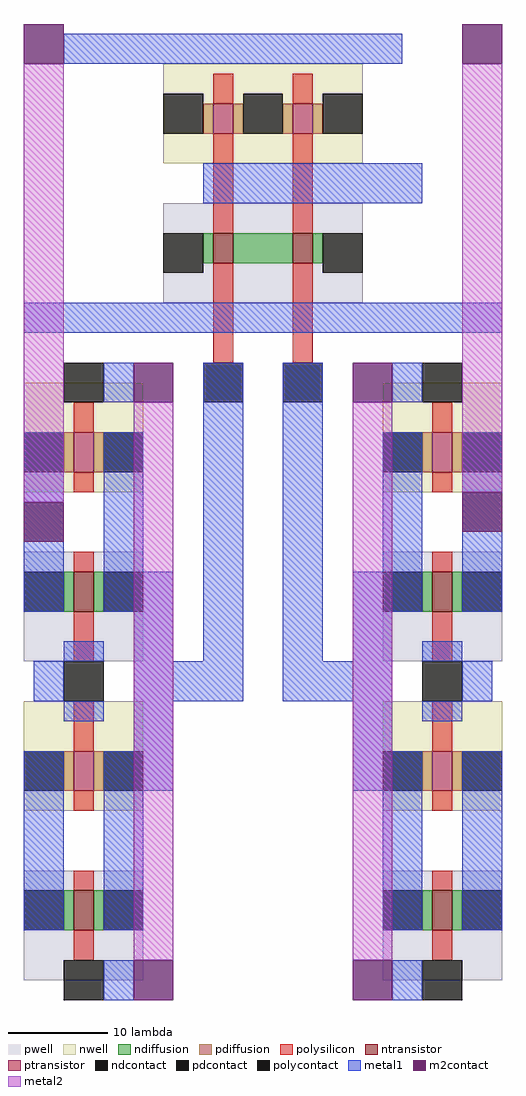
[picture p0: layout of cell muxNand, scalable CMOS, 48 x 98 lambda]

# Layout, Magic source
magic
tech scmos
<< metal1 >>
rect -7 27 27 30
rect 7 13 29 17
rect -11 0 37 3
rect -11 -17 -7 -10
rect 7 -33 11 -3
rect 0 -37 11 -33
rect 15 -33 19 -3
rect 33 -16 37 -10
rect 15 -37 26 -33
<< metal2 >>
rect -11 -17 -7 27
rect 33 -16 37 27
<< m2contact >>
rect -11 27 -7 31
rect 33 27 37 31
rect -11 -21 -7 -17
rect 33 -20 37 -16
use mux  mux_0
transform 1 0 -11 0 1 -35
box 0 -32 18 32
use mux  mux_1
transform -1 0 37 0 1 -35
box 0 -32 18 32
use nand2  nand2_0
transform 1 0 143 0 1 35
box -140 -42 -120 -8
<< end >>

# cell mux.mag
magic
tech scmos
<< polysilicon >>
rect 5 2 7 4
rect 5 -4 7 -2
<< metal1 >>
rect 8 28 11 32
rect 8 7 15 11
rect 4 2 8 4
rect 1 -2 4 2
rect 4 -4 8 -2
rect 11 2 15 7
rect 11 -2 18 2
rect 11 -7 15 -2
rect 8 -11 15 -7
rect 8 -32 11 -28
<< metal2 >>
rect 11 -28 15 28
<< polycontact >>
rect 4 28 8 32
rect 4 -2 8 2
rect 4 -32 8 -28
<< m2contact >>
rect 11 28 15 32
rect 11 -32 15 -28
use transgate  transgate_0
transform 1 0 5 0 1 39
box -5 -37 7 -9
use transgate  transgate_1
transform 1 0 5 0 1 7
box -5 -37 7 -9
<< end >>

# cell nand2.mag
magic
tech scmos
<< pwell >>
rect -140 -32 -120 -22
<< nwell >>
rect -140 -18 -120 -8
<< polysilicon >>
rect -135 -12 -133 -9
rect -127 -12 -125 -9
rect -135 -25 -133 -15
rect -127 -25 -125 -15
rect -135 -38 -133 -28
rect -127 -38 -125 -28
<< ndiffusion >>
rect -136 -28 -135 -25
rect -133 -28 -127 -25
rect -125 -28 -124 -25
<< pdiffusion >>
rect -136 -15 -135 -12
rect -133 -15 -132 -12
rect -128 -15 -127 -12
rect -125 -15 -124 -12
<< ntransistor >>
rect -135 -28 -133 -25
rect -127 -28 -125 -25
<< ptransistor >>
rect -135 -15 -133 -12
rect -127 -15 -125 -12
<< polycontact >>
rect -136 -42 -132 -38
rect -128 -42 -124 -38
<< ndcontact >>
rect -140 -29 -136 -25
rect -124 -29 -120 -25
<< pdcontact >>
rect -140 -15 -136 -11
rect -132 -15 -128 -11
rect -124 -15 -120 -11
<< end >>

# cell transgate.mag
magic
tech scmos
<< metal1 >>
rect -5 -32 -1 -14
rect 3 -32 7 -14
use nmos  nmos_0
transform 1 0 -2 0 -1 -50
box -3 -24 9 -13
use pmos  pmos_0
transform 1 0 -4 0 1 6
box -1 -26 11 -15
<< end >>

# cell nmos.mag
magic
tech scmos
<< pwell >>
rect -3 -24 9 -13
<< polysilicon >>
rect 2 -18 4 -15
rect 2 -24 4 -22
<< ndiffusion >>
rect 1 -22 2 -18
rect 4 -22 5 -18
<< ntransistor >>
rect 2 -22 4 -18
<< ndcontact >>
rect -3 -22 1 -18
rect 5 -22 9 -18
<< end >>

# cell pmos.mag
magic
tech scmos
<< nwell >>
rect -1 -26 11 -15
<< polysilicon >>
rect 4 -20 6 -17
rect 4 -26 6 -24
<< pdiffusion >>
rect 3 -24 4 -20
rect 6 -24 7 -20
<< ptransistor >>
rect 4 -24 6 -20
<< pdcontact >>
rect -1 -24 3 -20
rect 7 -24 11 -20
<< end >>
